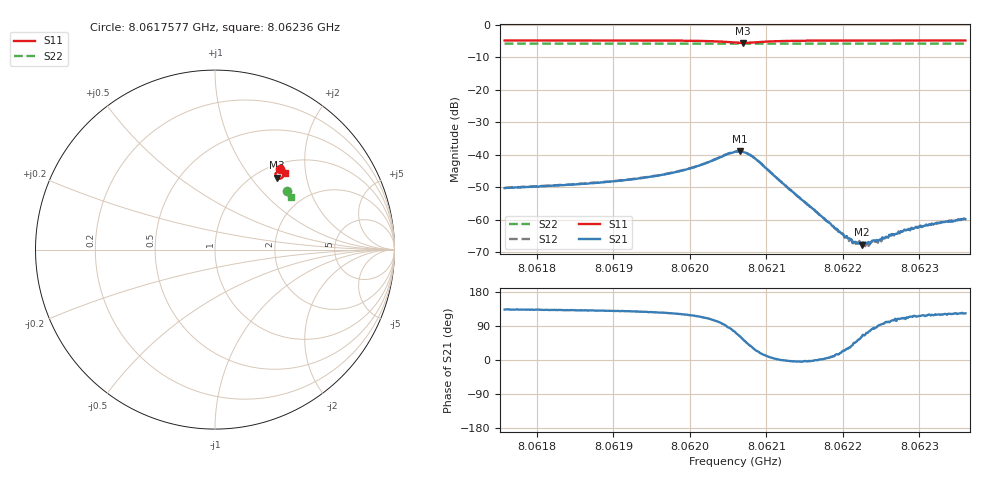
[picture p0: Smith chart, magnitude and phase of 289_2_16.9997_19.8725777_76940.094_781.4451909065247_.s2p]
#  HZ  S  RI  R  50.00
! Rohde & Schwarz Vector Network Analyzer
! Rohde-Schwarz,ZNB20-2Port,1311601062101988,3.16
! Created: UTC 3/20/2024, 11:05:01 PM
! freq[Hz]  re:S11  im:S11  re:S21  im:S21  re:S12  im:S12  re:S22  im:S22
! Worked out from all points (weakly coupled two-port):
!   401 points, 8.0617577 GHz to 8.06236 GHz, reference 50 ohm
!   highest |S21| = -38.88 dB at 8.0620649 GHz (marker M1); lowest = -67.7 dB at 8.0622245 GHz (marker M2)
!   lowest |S11| = -5.5 dB at 8.0620694 GHz (marker M3), VSWR 3.24, Z = 61.2 + j67.9 ohm
!   |S11| at or under -10 dB: nowhere
!   |S22| runs from -5.8 to -5.8 dB; largest |S21 - S12| = 0.00088
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8.06175774e9  0.3616 0.4481  -0.0021 0.00224  -0.00202 0.00242  0.4001 0.3253
8.06185862e9  0.3688 0.4419  -0.00235 0.00268  -0.00218 0.00286  0.4038 0.3201
8.06191132e9  0.3729 0.4378  -0.00256 0.00312  -0.00235 0.00335  0.4058 0.3176
8.0619595e9  0.3771 0.4323  -0.00278 0.00395  -0.00259 0.00413  0.4077 0.3149
8.06200618e9  0.3812 0.422  -0.00293 0.0058  -0.00258 0.006  0.4094 0.3121
8.06205888e9  0.36 0.395  0.00299 0.0107  0.00386 0.0106  0.4099 0.3087
8.0620649e9  0.3513 0.3965  0.00514 0.0102  0.00575 0.00976  0.4096 0.3087
8.06206942e9  0.3452 0.4001  0.00651 0.00897  0.0071 0.00863  0.4095 0.3088
8.06207695e9  0.3384 0.4096  0.00767 0.00657  0.00815 0.0062  0.4096 0.309
8.06208749e9  0.3381 0.4235  0.00759 0.00337  0.00779 0.00293  0.4101 0.309
8.06212814e9  0.3583 0.4395  0.00309 -0.000125  0.00309 -0.000319  0.4128 0.3075
8.06215976e9  0.3671 0.4385  0.0015 -5.63e-05  0.00151 -0.000174  0.4143 0.3058
8.06220493e9  0.3743 0.4356  0.000488 0.00028  0.000487 0.00023  0.416 0.3034
8.06221547e9  0.3756 0.435  0.000322 0.000328  0.000347 0.000322  0.4164 0.3029
8.0622245e9  0.3765 0.4343  0.000196 0.000364  0.000229 0.000376  0.4166 0.3024
8.06223203e9  0.3773 0.4339  0.000142 0.000424  0.000172 0.000434  0.417 0.302
8.06224107e9  0.3782 0.4333  6.12e-05 0.000477  9.23e-05 0.000456  0.4174 0.3015
8.0622486e9  0.3788 0.433  -2.53e-05 0.000502  4.02e-05 0.000506  0.4177 0.3012
8.06226064e9  0.38 0.4322  -9.61e-05 0.000579  -9.94e-05 0.000575  0.418 0.3006
8.06229678e9  0.383 0.43  -0.000329 0.000705  -0.000278 0.000697  0.4194 0.2985
8.0623284e9  0.3853 0.4281  -0.000463 0.000797  -0.000432 0.000808  0.4205 0.297
8.06236002e9  0.3875 0.4263  -0.000559 0.000855  -0.000527 0.000885  0.4216 0.2952
